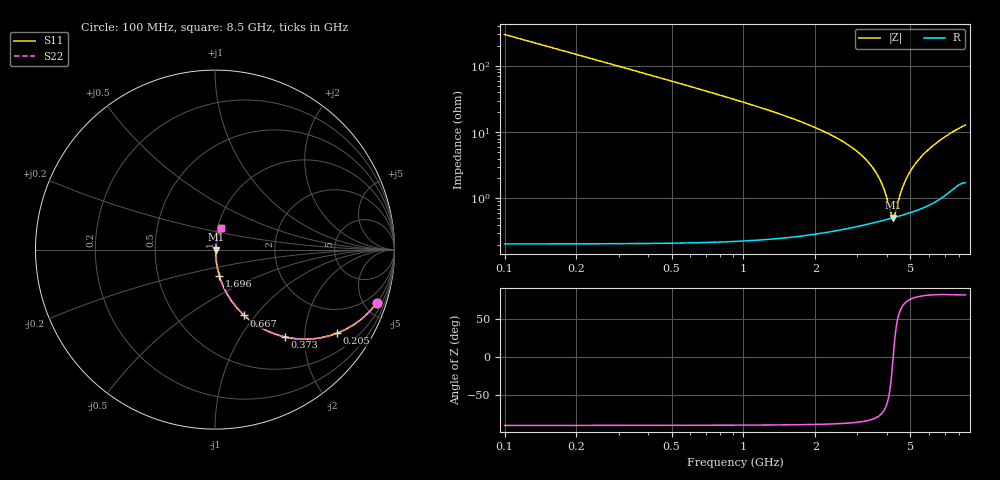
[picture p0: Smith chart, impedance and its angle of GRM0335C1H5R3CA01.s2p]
!Murata Part Number: GRM0335C1H5R3CA01
!These Parameters are Measured in Series Mode Connection
!Data Generated on Mar 30, 2021
!  o--ll--o
!Port1  Port2
!  o------o
!Operation Temp=25[degC], DC Bias Voltage=0[V]
!Freq. Start=100[MHz] Stop=9[GHz] 401[Steps]
# Hz S RI R 50
!Freq.(Hz) S11(Real) S11(Imag) S21(Real) S21(Imag) S12(Real) S12(Imag) S22(Real) S22(Imag)
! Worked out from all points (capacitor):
!   401 points, 100 MHz to 8.5 GHz, reference 50 ohm
!   read as one part in series: C = 5.3 pF near 142 MHz
!   lowest |Z| = 509 mohm at 4.237 GHz (marker M1)
!   series resonance near 4.237 GHz, so ESL is about 270 pH
!   S11 on the Smith chart (normalised r, x): 100 MHz: 1.00, -6.00; 205 MHz: 1.00, -2.92; 373 MHz: 1.00, -1.60; 667 MHz: 1.00, -0.88; 1.696 GHz: 1.01, -0.30; 8.5 GHz: 1.03, +0.26
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1e8  0.8999 -0.2998  0.1001 0.2998  0.1001 0.2998  0.8999 -0.2998
2.05e8  0.6809 -0.4654  0.3191 0.4654  0.3191 0.4654  0.6809 -0.4654
2.89e8  0.5169 -0.4987  0.4831 0.4987  0.4831 0.4987  0.5169 -0.4987
3.73e8  0.3899 -0.4864  0.6101 0.4864  0.6101 0.4864  0.3899 -0.4864
4.99e8  0.2614 -0.4376  0.7387 0.4376  0.7387 0.4376  0.2614 -0.4376
6.67e8  0.163 -0.367  0.837 0.367  0.837 0.367  0.163 -0.367
9.82e8  0.0793 -0.2663  0.9207 0.2663  0.9207 0.2663  0.0793 -0.2663
1.507e9  0.0319 -0.1687  0.9681 0.1687  0.9681 0.1687  0.0319 -0.1687
1.696e9  0.0243 -0.1454  0.9757 0.1454  0.9757 0.1454  0.0243 -0.1454
2.914e9  0.00667 -0.0547  0.9933 0.0547  0.9933 0.0547  0.00667 -0.0547
3.355e9  0.00525 -0.0339  0.9948 0.0339  0.9948 0.0339  0.00525 -0.0339
3.67e9  0.00486 -0.0208  0.9951 0.0208  0.9951 0.0208  0.00486 -0.0208
3.901e9  0.00482 -0.012  0.9952 0.012  0.9952 0.012  0.00482 -0.012
4.153e9  0.00497 -0.00291  0.995 0.00291  0.995 0.00291  0.00497 -0.00291
4.237e9  0.00506 8.9e-06  0.9949 -8.9e-06  0.9949 -8.9e-06  0.00506 8.9e-06
4.3e9  0.00514 0.00217  0.9949 -0.00217  0.9949 -0.00217  0.00514 0.00217
4.573e9  0.0056 0.0113  0.9944 -0.0113  0.9944 -0.0113  0.0056 0.0113
4.825e9  0.00618 0.0193  0.9938 -0.0193  0.9938 -0.0193  0.00618 0.0193
5.203e9  0.00732 0.031  0.9927 -0.031  0.9927 -0.031  0.00732 0.031
5.707e9  0.00936 0.046  0.9906 -0.046  0.9906 -0.046  0.00936 0.046
7.114e9  0.019 0.086  0.981 -0.086  0.981 -0.086  0.019 0.086
8.5e9  0.0322 0.1213  0.9678 -0.1213  0.9678 -0.1213  0.0322 0.1213
